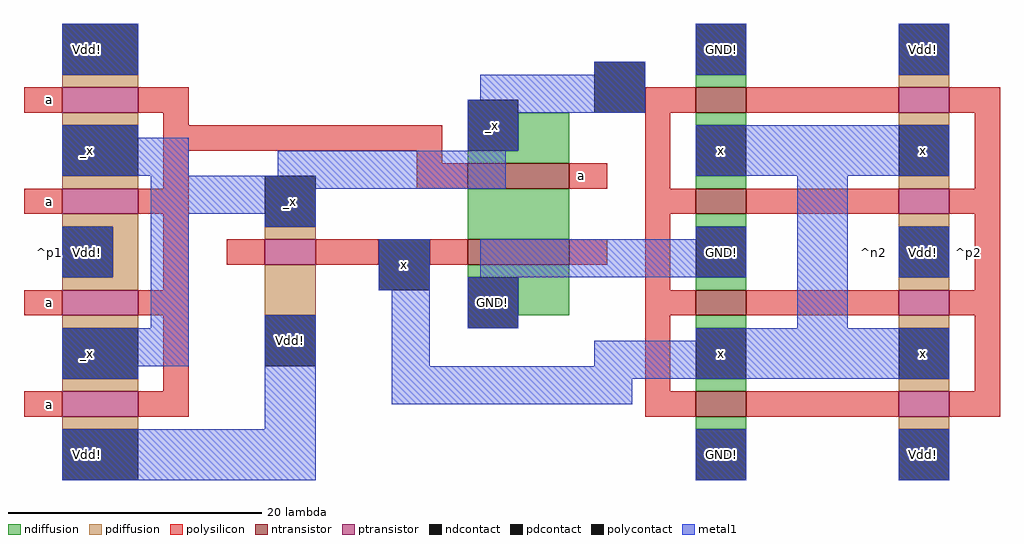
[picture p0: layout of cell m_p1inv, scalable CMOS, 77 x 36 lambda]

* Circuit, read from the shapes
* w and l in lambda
.subckt m_p1inv GND! Vdd! _x a x
M1 n1 x GND! VSUBS nfet w=8 l=2
M2 _x a n1 VSUBS nfet w=8 l=2
M3 x _x GND! VSUBS nfet w=4 l=2 m=4
M4 _x a Vdd! NWELL pfet w=6 l=2 m=4
M5 _x x Vdd! NWELL pfet w=4 l=2
M6 x _x Vdd! NWELL pfet w=4 l=2 m=4
.ends

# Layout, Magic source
magic
tech scmos
<< ndiffusion >>
rect -70 26 -66 27
rect -84 21 -80 24
rect -88 20 -80 21
rect -70 23 -66 24
rect -70 18 -66 19
rect -88 14 -80 18
rect -88 11 -80 12
rect -84 8 -80 11
rect -70 15 -66 16
rect -70 10 -66 11
rect -70 7 -66 8
rect -70 2 -66 3
rect -70 -1 -66 0
<< pdiffusion >>
rect -120 26 -114 27
rect -120 23 -114 24
rect -120 18 -114 19
rect -54 26 -50 27
rect -120 15 -114 16
rect -116 11 -114 15
rect -120 10 -114 11
rect -54 23 -50 24
rect -54 18 -50 19
rect -104 14 -100 15
rect -120 7 -114 8
rect -120 2 -114 3
rect -104 8 -100 12
rect -54 15 -50 16
rect -54 10 -50 11
rect -54 7 -50 8
rect -54 2 -50 3
rect -120 -1 -114 0
rect -54 -1 -50 0
<< ntransistor >>
rect -70 24 -66 26
rect -88 18 -80 20
rect -70 16 -66 18
rect -88 12 -80 14
rect -70 8 -66 10
rect -70 0 -66 2
<< ptransistor >>
rect -120 24 -114 26
rect -54 24 -50 26
rect -120 16 -114 18
rect -54 16 -50 18
rect -104 12 -100 14
rect -120 8 -114 10
rect -54 8 -50 10
rect -120 0 -114 2
rect -54 0 -50 2
<< polysilicon >>
rect -123 24 -120 26
rect -114 24 -110 26
rect -112 23 -110 24
rect -112 21 -90 23
rect -112 18 -110 21
rect -92 20 -90 21
rect -74 24 -70 26
rect -66 24 -54 26
rect -50 24 -46 26
rect -123 16 -120 18
rect -114 16 -110 18
rect -112 10 -110 16
rect -92 18 -88 20
rect -80 18 -77 20
rect -74 18 -72 24
rect -48 18 -46 24
rect -74 16 -70 18
rect -66 16 -54 18
rect -50 16 -46 18
rect -107 12 -104 14
rect -100 12 -95 14
rect -123 8 -120 10
rect -114 8 -110 10
rect -112 2 -110 8
rect -91 12 -88 14
rect -80 12 -77 14
rect -74 10 -72 16
rect -48 10 -46 16
rect -74 8 -70 10
rect -66 8 -54 10
rect -50 8 -46 10
rect -123 0 -120 2
rect -114 0 -110 2
rect -74 2 -72 8
rect -48 2 -46 8
rect -74 0 -70 2
rect -66 0 -54 2
rect -50 0 -46 2
<< ndcontact >>
rect -88 21 -84 25
rect -70 27 -66 31
rect -70 19 -66 23
rect -88 7 -84 11
rect -70 11 -66 15
rect -70 3 -66 7
rect -70 -5 -66 -1
<< pdcontact >>
rect -120 27 -114 31
rect -120 19 -114 23
rect -54 27 -50 31
rect -120 11 -116 15
rect -104 15 -100 19
rect -54 19 -50 23
rect -120 3 -114 7
rect -104 4 -100 8
rect -54 11 -50 15
rect -54 3 -50 7
rect -120 -5 -114 -1
rect -54 -5 -50 -1
<< polycontact >>
rect -78 24 -74 28
rect -95 10 -91 14
<< metal1 >>
rect -120 27 -114 31
rect -78 27 -74 28
rect -70 27 -66 31
rect -54 27 -50 31
rect -87 25 -74 27
rect -88 24 -74 25
rect -120 22 -114 23
rect -120 19 -110 22
rect -88 21 -84 24
rect -103 19 -85 21
rect -70 19 -50 23
rect -113 18 -85 19
rect -113 16 -100 18
rect -120 11 -116 15
rect -113 7 -110 16
rect -104 15 -100 16
rect -70 14 -66 15
rect -95 10 -91 14
rect -87 11 -66 14
rect -120 4 -110 7
rect -120 3 -114 4
rect -104 -1 -100 8
rect -94 4 -91 10
rect -88 7 -84 11
rect -62 7 -58 19
rect -54 11 -50 15
rect -70 6 -50 7
rect -78 4 -50 6
rect -94 3 -50 4
rect -94 1 -75 3
rect -120 -5 -100 -1
rect -70 -5 -66 -1
rect -54 -5 -50 -1
<< labels >>
rlabel polysilicon -79 19 -79 19 1 a
rlabel space -123 -6 -119 32 7 ^p1
rlabel polysilicon -121 17 -121 17 3 a
rlabel polysilicon -121 25 -121 25 3 a
rlabel polysilicon -121 9 -121 9 3 a
rlabel polysilicon -121 1 -121 1 3 a
rlabel space -51 -6 -46 32 3 ^p2
rlabel space -67 -7 -45 33 3 ^n2
rlabel polycontact -93 12 -93 12 1 x
rlabel pdcontact -102 17 -102 17 4 _x
rlabel pdcontact -102 6 -102 6 1 Vdd!
rlabel ndcontact -86 9 -86 9 1 GND!
rlabel ndcontact -86 23 -86 23 5 _x
rlabel pdcontact -118 29 -118 29 5 Vdd!
rlabel pdcontact -118 -3 -118 -3 1 Vdd!
rlabel pdcontact -118 13 -118 13 5 Vdd!
rlabel pdcontact -118 5 -118 5 1 _x
rlabel pdcontact -118 21 -118 21 5 _x
rlabel ndcontact -68 -3 -68 -3 1 GND!
rlabel ndcontact -68 13 -68 13 5 GND!
rlabel ndcontact -68 5 -68 5 1 x
rlabel ndcontact -68 21 -68 21 5 x
rlabel ndcontact -68 29 -68 29 5 GND!
rlabel pdcontact -52 29 -52 29 5 Vdd!
rlabel pdcontact -52 21 -52 21 5 x
rlabel pdcontact -52 13 -52 13 5 Vdd!
rlabel pdcontact -52 5 -52 5 1 x
rlabel pdcontact -52 -3 -52 -3 1 Vdd!
<< end >>
